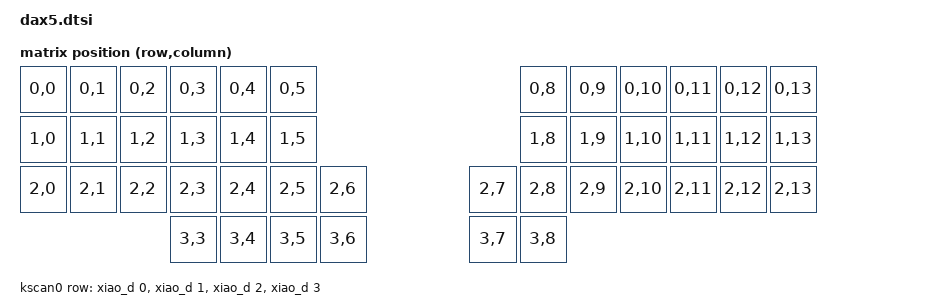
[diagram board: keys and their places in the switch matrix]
#include <dt-bindings/zmk/matrix_transform.h>
#include <physical_layouts.dtsi>

/ {
    chosen {
      zmk,physical-layout = &dax5_physical_layout;
    };

    dax5_physical_layout: dax5_physical_layout {
      compatible = "zmk,physical-layout";
      display-name = "Default";
      transform = <&default_transform>;
      kscan = <&kscan0>;

      // Ortholinear visualization layout (not PCB-true).
      // Each transform col maps to a unique 100u-wide column:
      //   col 0..6 → x = col * 100         (left side: 0..600)
      //   col 7..13 → x = (col - 7) * 100 + 900   (right side: 900..1500)
      // Row index → y = row * 100.
      // Only R2 populates both outer columns c6 (L) and c7 (R). R3 uses L c3..c6 + R c7..c8.
      keys //                       w   h    x    y  rot rx ry
        // Row 0 (matrix R0): L cols 0-5, R cols 8-13
        = <&key_physical_attrs 100 100    0    0   0  0  0>  //  0: R0C0
        , <&key_physical_attrs 100 100  100    0   0  0  0>  //  1: R0C1
        , <&key_physical_attrs 100 100  200    0   0  0  0>  //  2: R0C2
        , <&key_physical_attrs 100 100  300    0   0  0  0>  //  3: R0C3
        , <&key_physical_attrs 100 100  400    0   0  0  0>  //  4: R0C4
        , <&key_physical_attrs 100 100  500    0   0  0  0>  //  5: R0C5
        , <&key_physical_attrs 100 100 1000    0   0  0  0>  //  6: R0C8
        , <&key_physical_attrs 100 100 1100    0   0  0  0>  //  7: R0C9
        , <&key_physical_attrs 100 100 1200    0   0  0  0>  //  8: R0C10
        , <&key_physical_attrs 100 100 1300    0   0  0  0>  //  9: R0C11
        , <&key_physical_attrs 100 100 1400    0   0  0  0>  // 10: R0C12
        , <&key_physical_attrs 100 100 1500    0   0  0  0>  // 11: R0C13
        // Row 1 (matrix R1): L cols 0-5, R cols 8-13
        , <&key_physical_attrs 100 100    0  100   0  0  0>  // 12: R1C0
        , <&key_physical_attrs 100 100  100  100   0  0  0>  // 13: R1C1
        , <&key_physical_attrs 100 100  200  100   0  0  0>  // 14: R1C2
        , <&key_physical_attrs 100 100  300  100   0  0  0>  // 15: R1C3
        , <&key_physical_attrs 100 100  400  100   0  0  0>  // 16: R1C4
        , <&key_physical_attrs 100 100  500  100   0  0  0>  // 17: R1C5
        , <&key_physical_attrs 100 100 1000  100   0  0  0>  // 18: R1C8
        , <&key_physical_attrs 100 100 1100  100   0  0  0>  // 19: R1C9
        , <&key_physical_attrs 100 100 1200  100   0  0  0>  // 20: R1C10
        , <&key_physical_attrs 100 100 1300  100   0  0  0>  // 21: R1C11
        , <&key_physical_attrs 100 100 1400  100   0  0  0>  // 22: R1C12
        , <&key_physical_attrs 100 100 1500  100   0  0  0>  // 23: R1C13
        // Row 2 (matrix R2): L cols 0-6, R cols 7-13
        , <&key_physical_attrs 100 100    0  200   0  0  0>  // 24: R2C0
        , <&key_physical_attrs 100 100  100  200   0  0  0>  // 25: R2C1
        , <&key_physical_attrs 100 100  200  200   0  0  0>  // 26: R2C2
        , <&key_physical_attrs 100 100  300  200   0  0  0>  // 27: R2C3
        , <&key_physical_attrs 100 100  400  200   0  0  0>  // 28: R2C4
        , <&key_physical_attrs 100 100  500  200   0  0  0>  // 29: R2C5
        , <&key_physical_attrs 100 100  600  200   0  0  0>  // 30: R2C6
        , <&key_physical_attrs 100 100  900  200   0  0  0>  // 31: R2C7
        , <&key_physical_attrs 100 100 1000  200   0  0  0>  // 32: R2C8
        , <&key_physical_attrs 100 100 1100  200   0  0  0>  // 33: R2C9
        , <&key_physical_attrs 100 100 1200  200   0  0  0>  // 34: R2C10
        , <&key_physical_attrs 100 100 1300  200   0  0  0>  // 35: R2C11
        , <&key_physical_attrs 100 100 1400  200   0  0  0>  // 36: R2C12
        , <&key_physical_attrs 100 100 1500  200   0  0  0>  // 37: R2C13
        // Row 3 (matrix R3): L cols 3-6, R cols 7-8
        , <&key_physical_attrs 100 100  300  300   0  0  0>  // 38: R3C3
        , <&key_physical_attrs 100 100  400  300   0  0  0>  // 39: R3C4
        , <&key_physical_attrs 100 100  500  300   0  0  0>  // 40: R3C5
        , <&key_physical_attrs 100 100  600  300   0  0  0>  // 41: R3C6
        , <&key_physical_attrs 100 100  900  300   0  0  0>  // 42: R3C7
        , <&key_physical_attrs 100 100 1000  300   0  0  0>  // 43: R3C8
        ;
    };

    default_transform: keymap_transform_0 {
      compatible = "zmk,matrix-transform";
      columns = <14>;
      rows = <4>;
      map = <
        RC(0,0) RC(0,1) RC(0,2) RC(0,3) RC(0,4) RC(0,5)                    RC(0,8) RC(0,9) RC(0,10) RC(0,11) RC(0,12) RC(0,13)
        RC(1,0) RC(1,1) RC(1,2) RC(1,3) RC(1,4) RC(1,5)                    RC(1,8) RC(1,9) RC(1,10) RC(1,11) RC(1,12) RC(1,13)
        RC(2,0) RC(2,1) RC(2,2) RC(2,3) RC(2,4) RC(2,5) RC(2,6)    RC(2,7) RC(2,8) RC(2,9) RC(2,10) RC(2,11) RC(2,12) RC(2,13)
                                RC(3,3) RC(3,4) RC(3,5) RC(3,6)    RC(3,7) RC(3,8)
      >;
    };

    kscan0: kscan {
      compatible = "zmk,kscan-gpio-matrix";
      wakeup-source;
      diode-direction = "col2row";
      row-gpios
        = <&xiao_d 0 (GPIO_ACTIVE_HIGH | GPIO_PULL_DOWN)>  // D0/P0.02 -> Row0
        , <&xiao_d 1 (GPIO_ACTIVE_HIGH | GPIO_PULL_DOWN)>  // D1/P0.03 -> Row1
        , <&xiao_d 2 (GPIO_ACTIVE_HIGH | GPIO_PULL_DOWN)>  // D2/P0.28 -> Row2
        , <&xiao_d 3 (GPIO_ACTIVE_HIGH | GPIO_PULL_DOWN)>  // D3/P0.29 -> Row3
        ;
    };

    left_encoder: encoder_left {
      compatible = "alps,ec11";
      steps = <80>;
      status = "disabled";
    };

    right_encoder: encoder_right {
      compatible = "alps,ec11";
      steps = <80>;
      status = "disabled";
    };

    sensors: sensors {
      compatible = "zmk,keymap-sensors";
      sensors = <&left_encoder &right_encoder>;
      triggers-per-rotation = <40>;
    };
};

&uicr {
  nfct-pins-as-gpios;
};
